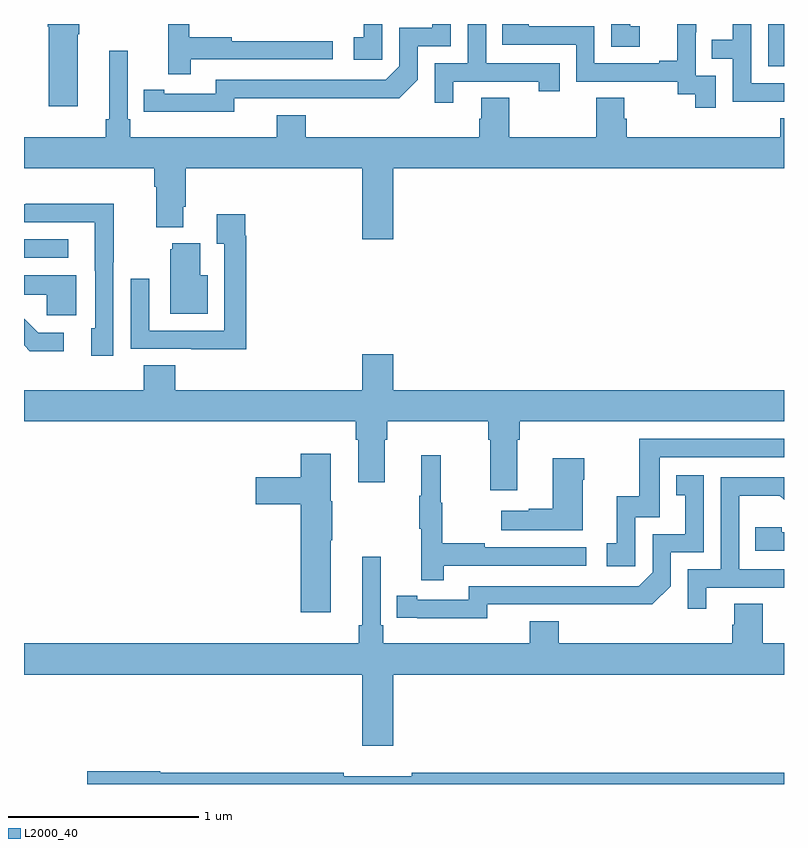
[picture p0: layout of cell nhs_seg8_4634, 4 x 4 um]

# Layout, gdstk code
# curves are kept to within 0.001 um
import gdstk
lib = gdstk.Library(unit=1e-6, precision=1e-09)
def R(c, l, rs):  # rectangles x0, y0, x1, y1
    for r in rs: c.add(gdstk.rectangle(r[:2], r[2:], *l))
def P(c, l, *ps):  # polygons
    for p in ps: c.add(gdstk.Polygon(p, *l))
L2000_40 = (2000, 40)

nhs_seg8_4634 = lib.new_cell('nhs_seg8_4634')
R(nhs_seg8_4634, L2000_40, [(391,1142.67,391.234,1142.766), (394.917,1143.678,395,1143.9), (392.181,1143.899,392.608,1143.9)])
P(nhs_seg8_4634, L2000_40, [(394.24,1143.889),(394.191,1143.889),(394.191,1143.9),(394.092,1143.9),(394.092,1143.78),(394.24,1143.78)],
  [(393.259,1143.597),(393.71,1143.597),(393.71,1143.546),(393.821,1143.546),(393.821,1143.693),(393.432,1143.693),(393.432,1143.9),(393.336,1143.9),(393.336,1143.693),(393.162,1143.693),(393.162,1143.486),(393.259,1143.486)],
  [(392.106,1143.51),(392.974,1143.509),(393.072,1143.606),(393.072,1143.783),(393.246,1143.783),(393.246,1143.9),(393.149,1143.9),(393.149,1143.879),(392.976,1143.879),(392.976,1143.678),(392.904,1143.606),(392.01,1143.606),(392.01,1143.534),(391.738,1143.534),(391.738,1143.554),(391.63,1143.554),(391.63,1143.438),(392.106,1143.437)],
  [(391.877,1143.714),(392.626,1143.714),(392.626,1143.81),(392.093,1143.81),(392.093,1143.83),(391.87,1143.83),(391.87,1143.9),(391.76,1143.9),(391.76,1143.636),(391.877,1143.636)],
  [(395,1143.588),(394.827,1143.588),(394.827,1143.9),(394.731,1143.9),(394.731,1143.818),(394.621,1143.818),(394.621,1143.717),(394.731,1143.717),(394.731,1143.492),(395,1143.492)],
  [(392.886,1143.9),(392.789,1143.9),(392.789,1143.831),(392.736,1143.831),(392.736,1143.711),(392.886,1143.711)],
  [(391.282,1143.847),(391.29,1143.847),(391.29,1143.9),(391.124,1143.9),(391.124,1143.885),(391.129,1143.885),(391.129,1143.468),(391.282,1143.468)],
  [(394.641,1143.627),(394.536,1143.627),(394.536,1143.857),(394.538,1143.857),(394.538,1143.9),(394.439,1143.9),(394.439,1143.706),(394.343,1143.706),(394.343,1143.693),(394.002,1143.693),(394.002,1143.888),(393.657,1143.888),(393.657,1143.9),(393.517,1143.9),(393.517,1143.792),(393.906,1143.792),(393.906,1143.597),(394.44,1143.597),(394.44,1143.529),(394.533,1143.529),(394.533,1143.459),(394.641,1143.459)],
  [(392.944,1143.14),(395,1143.14),(395,1143.403),(394.979,1143.403),(394.979,1143.304),(394.172,1143.304),(394.172,1143.402),(394.159,1143.402),(394.159,1143.512),(394.012,1143.512),(394.012,1143.304),(393.555,1143.304),(393.555,1143.512),(393.407,1143.512),(393.407,1143.402),(393.395,1143.402),(393.395,1143.304),(392.483,1143.304),(392.483,1143.421),(392.33,1143.421),(392.33,1143.304),(391.559,1143.304),(391.559,1143.4),(391.545,1143.4),(391.545,1143.76),(391.448,1143.76),(391.448,1143.4),(391.429,1143.4),(391.429,1143.304),(391,1143.304),(391,1143.14),(391.685,1143.14),(391.685,1143.044),(391.697,1143.044),(391.697,1142.831),(391.837,1142.831),(391.837,1142.938),(391.85,1142.938),(391.85,1143.14),(392.78,1143.14),(392.78,1142.766),(392.944,1142.766)],
  [(391.47,1142.647),(391.473,1142.647),(391.473,1142.954),(391.009,1142.954),(391.009,1142.952),(391,1142.952),(391,1142.856),(391.373,1142.856),(391.373,1142.602),(391.374,1142.602),(391.374,1142.298),(391.355,1142.298),(391.355,1142.154),(391.47,1142.154)],
  [(392.171,1142.786),(392.164,1142.786),(392.164,1142.899),(392.015,1142.899),(392.015,1142.743),(392.055,1142.743),(392.055,1142.286),(391.659,1142.286),(391.659,1142.56),(391.563,1142.56),(391.563,1142.19),(391.879,1142.19),(391.879,1142.189),(392.171,1142.189)],
  [(391.966,1142.578),(391.927,1142.578),(391.927,1142.746),(391.781,1142.746),(391.781,1142.715),(391.769,1142.715),(391.769,1142.375),(391.966,1142.375)],
  [(391.276,1142.578),(391,1142.578),(391,1142.474),(391.119,1142.474),(391.119,1142.366),(391.276,1142.366)],
  [(391.21,1142.274),(391.075,1142.274),(391,1142.349),(391,1142.208),(391.031,1142.177),(391.21,1142.177)],
  [(393.595,1141.712),(393.608,1141.712),(393.608,1141.808),(395,1141.808),(395,1141.972),(392.944,1141.972),(392.944,1142.161),(392.78,1142.161),(392.78,1141.972),(391.796,1141.972),(391.796,1142.105),(391.631,1142.105),(391.631,1141.972),(391,1141.972),(391,1141.808),(392.747,1141.808),(392.747,1141.712),(392.759,1141.712),(392.759,1141.488),(392.899,1141.488),(392.899,1141.712),(392.912,1141.712),(392.912,1141.808),(393.443,1141.808),(393.443,1141.712),(393.455,1141.712),(393.455,1141.446),(393.595,1141.446)],
  [(394.218,1141.305),(394.347,1141.305),(394.347,1141.62),(395,1141.62),(395,1141.716),(394.239,1141.716),(394.239,1141.414),(394.121,1141.414),(394.121,1141.167),(394.068,1141.167),(394.068,1141.047),(394.218,1141.047)],
  [(392.614,1141.183),(392.622,1141.183),(392.622,1141.389),(392.614,1141.389),(392.614,1141.639),(392.456,1141.639),(392.456,1141.515),(392.22,1141.515),(392.22,1141.373),(392.456,1141.373),(392.456,1140.804),(392.614,1140.804)],
  [(393.209,1141.05),(393.958,1141.05),(393.958,1141.146),(393.425,1141.146),(393.425,1141.166),(393.202,1141.166),(393.202,1141.38),(393.194,1141.38),(393.194,1141.63),(393.092,1141.63),(393.092,1141.417),(393.081,1141.417),(393.081,1141.243),(393.092,1141.243),(393.092,1140.972),(393.209,1140.972)],
  [(393.94,1141.502),(393.948,1141.502),(393.948,1141.615),(393.782,1141.615),(393.782,1141.349),(393.656,1141.349),(393.656,1141.339),(393.513,1141.339),(393.513,1141.235),(393.94,1141.235)],
  [(393.438,1140.846),(394.306,1140.845),(394.404,1140.942),(394.404,1141.119),(394.578,1141.119),(394.578,1141.525),(394.432,1141.525),(394.432,1141.419),(394.481,1141.419),(394.481,1141.215),(394.308,1141.215),(394.308,1141.014),(394.236,1140.942),(393.342,1140.942),(393.342,1140.87),(393.07,1140.87),(393.07,1140.89),(392.962,1140.89),(392.962,1140.774),(393.438,1140.773)],
  [(394.591,1140.933),(395,1140.933),(395,1141.029),(394.764,1141.029),(394.764,1141.418),(394.978,1141.418),(395,1141.396),(395,1141.515),(394.668,1141.515),(394.668,1141.029),(394.494,1141.029),(394.494,1140.822),(394.591,1140.822)],
  [(395,1141.224),(394.989,1141.224),(394.989,1141.251),(394.849,1141.251),(394.849,1141.128),(395,1141.128)],
  [(392.944,1140.476),(395,1140.476),(395,1140.64),(394.887,1140.64),(394.887,1140.848),(394.739,1140.848),(394.739,1140.738),(394.727,1140.738),(394.727,1140.64),(393.815,1140.64),(393.815,1140.757),(393.662,1140.757),(393.662,1140.64),(392.891,1140.64),(392.891,1140.736),(392.877,1140.736),(392.877,1141.096),(392.78,1141.096),(392.78,1140.736),(392.761,1140.736),(392.761,1140.64),(391,1140.64),(391,1140.476),(392.78,1140.476),(392.78,1140.102),(392.944,1140.102)],
  [(395,1139.96),(393.04,1139.96),(393.04,1139.941),(392.684,1139.941),(392.684,1139.96),(391.716,1139.96),(391.716,1139.966),(391.332,1139.966),(391.332,1139.9),(395,1139.9)])

lib.write_gds('nhs_seg8_4634.gds')
